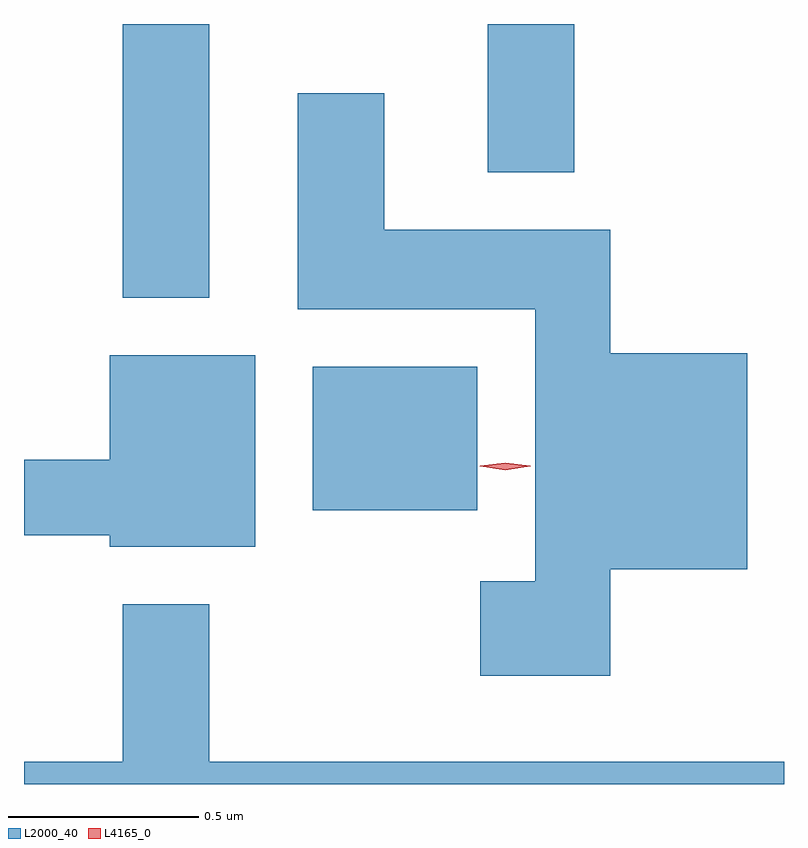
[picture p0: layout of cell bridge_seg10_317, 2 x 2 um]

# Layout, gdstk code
import gdstk
lib = gdstk.Library(unit=1e-6, precision=1e-09)
def R(c, l, rs):  # rectangles x0, y0, x1, y1
    for r in rs: c.add(gdstk.rectangle(r[:2], r[2:], *l))
def P(c, l, *ps):  # polygons
    for p in ps: c.add(gdstk.Polygon(p, *l))
L2000_40 = (2000, 40)
L4165_0 = (4165, 0)

bridge_seg10_317 = lib.new_cell('bridge_seg10_317')
R(bridge_seg10_317, L2000_40, [(1449.771,2174.786,1450.204,2175.164), (1449.271,2175.346,1449.499,2176.066), (1450.231,2175.676,1450.459,2176.066)])
P(bridge_seg10_317, L2000_40, [(1450.554,2174.631),(1450.914,2174.631),(1450.914,2175.199),(1450.554,2175.199),(1450.554,2175.524),(1449.959,2175.524),(1449.959,2175.884),(1449.731,2175.884),(1449.731,2175.316),(1450.356,2175.316),(1450.356,2174.599),(1450.211,2174.599),(1450.211,2174.351),(1450.554,2174.351)],
  [(1449.619,2175.194),(1449.236,2175.194),(1449.236,2174.919),(1449.011,2174.919),(1449.011,2174.721),(1449.236,2174.721),(1449.236,2174.691),(1449.619,2174.691)],
  [(1451.011,2174.124),(1449.499,2174.124),(1449.499,2174.539),(1449.271,2174.539),(1449.271,2174.124),(1449.011,2174.124),(1449.011,2174.066),(1451.011,2174.066)])
P(bridge_seg10_317, L4165_0, [(1450.277,2174.892),(1450.211,2174.902),(1450.21,2174.902),(1450.211,2174.903),(1450.277,2174.912),(1450.343,2174.903),(1450.344,2174.902),(1450.343,2174.902)])

lib.write_gds('bridge_seg10_317.gds')
